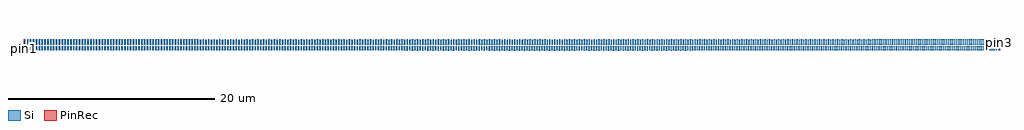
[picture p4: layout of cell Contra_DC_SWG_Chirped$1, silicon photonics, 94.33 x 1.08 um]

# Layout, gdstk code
import gdstk
lib = gdstk.Library(unit=1e-6, precision=1e-09)
def R(c, l, rs):  # rectangles x0, y0, x1, y1
    for r in rs: c.add(gdstk.rectangle(r[:2], r[2:], *l))
def A(c, l, x, y, w, h, nx, ny, dx, dy):  # array of equal rectangles
    R(c, l, [(x+i*dx, y+j*dy, x+i*dx+w, y+j*dy+h) for i in range(nx) for j in range(ny)])
Si = (1, 0)
PinRec = (1, 10)

contra_dc_swg_chirped_1 = lib.new_cell('Contra_DC_SWG_Chirped$1')
A(contra_dc_swg_chirped_1, Si, 50.174, -0.229, 0.13, 0.399, 4, 1, 0.48, 0)
A(contra_dc_swg_chirped_1, Si, 16.096, -0.205, 0.137, 0.399, 3, 1, 0.535, 0)
A(contra_dc_swg_chirped_1, Si, 81.013, -0.205, 0.123, 0.399, 3, 1, 0.425, 0)
A(contra_dc_swg_chirped_1, Si, -0.07, -0.2, 0.14, 0.4, 3, 1, 0.559, 0)
A(contra_dc_swg_chirped_1, Si, 4.937, -0.2, 0.139, 0.4, 3, 1, 0.552, 0)
A(contra_dc_swg_chirped_1, Si, 20.093, -0.2, 0.136, 0.4, 3, 1, 0.529, 0)
A(contra_dc_swg_chirped_1, Si, 24.828, -0.2, 0.135, 0.4, 3, 1, 0.522, 0)
A(contra_dc_swg_chirped_1, Si, 26.912, -0.2, 0.135, 0.4, 3, 1, 0.518, 0)
A(contra_dc_swg_chirped_1, Si, 30.526, -0.2, 0.134, 0.4, 3, 1, 0.513, 0)
A(contra_dc_swg_chirped_1, Si, 44.585, -0.2, 0.131, 0.4, 3, 1, 0.49, 0)
A(contra_dc_swg_chirped_1, Si, 49.933, -0.2, 0.13, 0.4, 3, 1, 0.481, 0)
A(contra_dc_swg_chirped_1, Si, 55.182, -0.2, 0.129, 0.4, 3, 1, 0.472, 0)
A(contra_dc_swg_chirped_1, Si, 68.098, -0.2, 0.126, 0.4, 3, 1, 0.449, 0)
A(contra_dc_swg_chirped_1, Si, 72.113, -0.2, 0.125, 0.4, 3, 1, 0.442, 0)
A(contra_dc_swg_chirped_1, Si, 73.877, -0.2, 0.125, 0.4, 3, 1, 0.438, 0)
A(contra_dc_swg_chirped_1, Si, 76.931, -0.2, 0.124, 0.4, 3, 1, 0.433, 0)
A(contra_dc_swg_chirped_1, Si, 88.75, -0.2, 0.121, 0.4, 3, 1, 0.41, 0)
A(contra_dc_swg_chirped_1, Si, 55.204, 0.312, 0.129, 0.499, 3, 1, 0.472, 0)
A(contra_dc_swg_chirped_1, Si, 19.57, 0.341, 0.136, 0.499, 3, 1, 0.53, 0)
A(contra_dc_swg_chirped_1, Si, 82.109, 0.344, 0.123, 0.499, 3, 1, 0.423, 0)
A(contra_dc_swg_chirped_1, Si, 86.723, 0.347, 0.122, 0.499, 3, 1, 0.414, 0)
A(contra_dc_swg_chirped_1, Si, 89.198, 0.348, 0.121, 0.499, 3, 1, 0.409, 0)
A(contra_dc_swg_chirped_1, Si, 5.767, 0.35, 0.139, 0.5, 3, 1, 0.551, 0)
A(contra_dc_swg_chirped_1, Si, 15.028, 0.35, 0.137, 0.5, 3, 1, 0.537, 0)
A(contra_dc_swg_chirped_1, Si, 18.24, 0.35, 0.137, 0.5, 3, 1, 0.532, 0)
A(contra_dc_swg_chirped_1, Si, 20.365, 0.35, 0.136, 0.5, 3, 1, 0.529, 0)
A(contra_dc_swg_chirped_1, Si, 24.053, 0.35, 0.135, 0.5, 3, 1, 0.523, 0)
A(contra_dc_swg_chirped_1, Si, 26.662, 0.35, 0.135, 0.5, 3, 1, 0.519, 0)
A(contra_dc_swg_chirped_1, Si, 32.331, 0.35, 0.134, 0.5, 3, 1, 0.51, 0)
A(contra_dc_swg_chirped_1, Si, 40.898, 0.35, 0.132, 0.5, 3, 1, 0.496, 0)
A(contra_dc_swg_chirped_1, Si, 45.827, 0.35, 0.131, 0.5, 3, 1, 0.488, 0)
A(contra_dc_swg_chirped_1, Si, 50.193, 0.35, 0.13, 0.5, 3, 1, 0.481, 0)
A(contra_dc_swg_chirped_1, Si, 55.912, 0.35, 0.129, 0.5, 3, 1, 0.471, 0)
A(contra_dc_swg_chirped_1, Si, 58.728, 0.35, 0.128, 0.5, 3, 1, 0.466, 0)
A(contra_dc_swg_chirped_1, Si, 63.813, 0.35, 0.127, 0.5, 3, 1, 0.457, 0)
A(contra_dc_swg_chirped_1, Si, 66.545, 0.35, 0.127, 0.5, 3, 1, 0.452, 0)
A(contra_dc_swg_chirped_1, Si, 68.35, 0.35, 0.126, 0.5, 3, 1, 0.449, 0)
A(contra_dc_swg_chirped_1, Si, 71.478, 0.35, 0.125, 0.5, 3, 1, 0.443, 0)
A(contra_dc_swg_chirped_1, Si, 73.687, 0.35, 0.125, 0.5, 3, 1, 0.439, 0)
A(contra_dc_swg_chirped_1, Si, 78.476, 0.35, 0.124, 0.5, 3, 1, 0.43, 0)
A(contra_dc_swg_chirped_1, Si, 85.683, 0.35, 0.122, 0.5, 3, 1, 0.416, 0)
A(contra_dc_swg_chirped_1, Si, 89.812, 0.35, 0.121, 0.5, 3, 1, 0.408, 0)
R(contra_dc_swg_chirped_1, Si, [(46.785,-0.229,46.915,0.17), (47.271,-0.229,47.402,0.17), (47.757,-0.229,47.888,0.17), (48.242,-0.229,48.372,0.17), (48.726,-0.229,48.856,0.17), (49.209,-0.229,49.34,0.17), (49.692,-0.229,49.822,0.17), (52.092,-0.229,52.222,0.17), (52.57,-0.229,52.699,0.17), (53.046,-0.229,53.176,0.17), (53.522,-0.229,53.652,0.17), (53.998,-0.229,54.127,0.17), (54.472,-0.229,54.601,0.17), (54.945,-0.229,55.075,0.17), (44.83,-0.228,44.961,0.171), (45.32,-0.228,45.451,0.171), (45.809,-0.228,45.94,0.171), (46.297,-0.228,46.428,0.171), (55.418,-0.228,55.547,0.171), (55.89,-0.228,56.019,0.171), (56.361,-0.228,56.49,0.171), (56.831,-0.228,56.96,0.171), (42.863,-0.227,42.994,0.172), (43.356,-0.227,43.487,0.172), (43.848,-0.227,43.979,0.172), (44.339,-0.227,44.471,0.172), (57.301,-0.227,57.429,0.172), (57.769,-0.227,57.898,0.172), (58.237,-0.227,58.366,0.172), (58.704,-0.227,58.833,0.172), (41.874,-0.226,42.006,0.173), (42.369,-0.226,42.5,0.173), (59.17,-0.226,59.299,0.173), (59.636,-0.226,59.764,0.173), (40.385,-0.225,40.517,0.174), (40.882,-0.225,41.014,0.174), (41.378,-0.225,41.51,0.174), (60.1,-0.225,60.228,0.174), (60.564,-0.225,60.692,0.174), (61.027,-0.225,61.155,0.174), (39.388,-0.224,39.52,0.175), (39.887,-0.224,40.019,0.175), (61.489,-0.224,61.617,0.175), (61.95,-0.224,62.078,0.175), (38.388,-0.223,38.52,0.176), (38.888,-0.223,39.021,0.176), (62.411,-0.223,62.538,0.176), (62.87,-0.223,62.998,0.176), (36.882,-0.222,37.014,0.177), (37.384,-0.222,37.517,0.177), (37.887,-0.222,38.019,0.177), (63.329,-0.222,63.457,0.177), (63.787,-0.222,63.914,0.177), (64.244,-0.222,64.372,0.177), (35.873,-0.221,36.006,0.178), (36.378,-0.221,36.511,0.178), (64.701,-0.221,64.828,0.178), (65.156,-0.221,65.283,0.178), (34.862,-0.22,34.995,0.179), (35.368,-0.22,35.501,0.179), (65.611,-0.22,65.738,0.179), (66.065,-0.22,66.192,0.179), (33.847,-0.219,33.98,0.18), (34.355,-0.219,34.488,0.18), (66.518,-0.219,66.645,0.18), (66.97,-0.219,67.097,0.18), (32.829,-0.218,32.963,0.181), (33.338,-0.218,33.472,0.181), (67.422,-0.218,67.548,0.181), (67.873,-0.218,67.999,0.181), (31.808,-0.217,31.941,0.182), (32.319,-0.217,32.452,0.182), (68.322,-0.217,68.449,0.182), (68.771,-0.217,68.898,0.182), (30.783,-0.216,30.917,0.183), (31.296,-0.216,31.43,0.183), (69.22,-0.216,69.346,0.183), (69.667,-0.216,69.793,0.183), (29.755,-0.215,29.889,0.184), (30.269,-0.215,30.404,0.184), (70.114,-0.215,70.239,0.184), (70.559,-0.215,70.685,0.184), (28.724,-0.214,28.859,0.185), (29.24,-0.214,29.374,0.185), (71.004,-0.214,71.13,0.185), (71.449,-0.214,71.574,0.185), (27.69,-0.213,27.824,0.186), (28.207,-0.213,28.342,0.186), (71.892,-0.213,72.017,0.186), (72.334,-0.213,72.46,0.186), (26.652,-0.212,26.787,0.187), (27.171,-0.212,27.306,0.187), (72.776,-0.212,72.901,0.187), (73.217,-0.212,73.342,0.187), (25.611,-0.211,25.746,0.188), (26.132,-0.211,26.267,0.188), (73.657,-0.211,73.782,0.188), (74.096,-0.211,74.221,0.188), (24.044,-0.21,24.179,0.189), (24.567,-0.21,24.702,0.189), (25.089,-0.21,25.225,0.189), (74.535,-0.21,74.659,0.189), (74.972,-0.21,75.097,0.189), (75.409,-0.21,75.534,0.189), (22.994,-0.209,23.13,0.19), (23.519,-0.209,23.655,0.19), (75.845,-0.209,75.969,0.19), (76.28,-0.209,76.404,0.19), (21.415,-0.208,21.551,0.191), (21.942,-0.208,22.078,0.191), (22.469,-0.208,22.604,0.191), (76.714,-0.208,76.839,0.191), (77.148,-0.208,77.272,0.191), (77.581,-0.208,77.705,0.191), (19.828,-0.207,19.964,0.192), (20.357,-0.207,20.494,0.192), (20.886,-0.207,21.023,0.192), (78.013,-0.207,78.136,0.192), (78.444,-0.207,78.567,0.192), (78.874,-0.207,78.998,0.192), (18.233,-0.206,18.37,0.193), (18.765,-0.206,18.902,0.193), (19.297,-0.206,19.433,0.193), (79.303,-0.206,79.427,0.193), (79.732,-0.206,79.855,0.193), (80.16,-0.206,80.283,0.193), (17.7,-0.205,17.837,0.194), (80.587,-0.205,80.71,0.194), (13.945,-0.204,14.083,0.195), (14.484,-0.204,14.622,0.195), (15.022,-0.204,15.159,0.195), (15.559,-0.204,15.697,0.195), (82.287,-0.204,82.409,0.195), (82.709,-0.204,82.832,0.195), (83.132,-0.204,83.254,0.195), (83.553,-0.204,83.675,0.195), (11.239,-0.203,11.377,0.196), (11.782,-0.203,11.92,0.196), (12.324,-0.203,12.462,0.196), (12.865,-0.203,13.003,0.196), (13.406,-0.203,13.543,0.196), (83.973,-0.203,84.096,0.196), (84.393,-0.203,84.515,0.196), (84.812,-0.203,84.934,0.196), (85.23,-0.203,85.352,0.196), (85.647,-0.203,85.769,0.196), (7.964,-0.202,8.103,0.197), (8.512,-0.202,8.651,0.197), (9.059,-0.202,9.198,0.197), (9.605,-0.202,9.744,0.197), (10.151,-0.202,10.289,0.197), (10.695,-0.202,10.833,0.197), (86.063,-0.202,86.185,0.197), (86.479,-0.202,86.601,0.197), (86.894,-0.202,87.015,0.197), (87.308,-0.202,87.429,0.197), (87.721,-0.202,87.842,0.197), (88.133,-0.202,88.254,0.197), (1.885,-0.201,2.024,0.198), (2.441,-0.201,2.581,0.198), (2.997,-0.201,3.137,0.198), (3.553,-0.201,3.692,0.198), (4.107,-0.201,4.246,0.198), (4.66,-0.201,4.8,0.198), (5.213,-0.201,5.352,0.198), (5.765,-0.201,5.904,0.198), (6.316,-0.201,6.455,0.198), (6.866,-0.201,7.005,0.198), (7.416,-0.201,7.554,0.198), (88.544,-0.201,88.666,0.198), (88.955,-0.201,89.076,0.198), (89.365,-0.201,89.486,0.198), (89.774,-0.201,89.895,0.198), (90.182,-0.201,90.303,0.198), (90.59,-0.201,90.71,0.198), (90.996,-0.201,91.117,0.198), (91.402,-0.201,91.523,0.198), (91.807,-0.201,91.927,0.198), (92.211,-0.201,92.331,0.198), (92.614,-0.201,92.735,0.198), (0.209,-0.2,0.349,0.199), (0.769,-0.2,0.909,0.199), (1.327,-0.2,1.467,0.199), (1.606,-0.2,1.746,0.2), (2.163,-0.2,2.303,0.2), (2.72,-0.2,2.859,0.2), (3.275,-0.2,3.415,0.2), (3.83,-0.2,3.969,0.2), (4.384,-0.2,4.523,0.2), (6.591,-0.2,6.73,0.2), (7.141,-0.2,7.28,0.2), (7.69,-0.2,7.829,0.2), (8.238,-0.2,8.377,0.2), (8.786,-0.2,8.924,0.2), (9.332,-0.2,9.471,0.2), (9.878,-0.2,10.016,0.2), (10.423,-0.2,10.561,0.2), (10.967,-0.2,11.105,0.2), (11.511,-0.2,11.648,0.2), (12.053,-0.2,12.191,0.2), (12.595,-0.2,12.732,0.2), (13.136,-0.2,13.273,0.2), (13.676,-0.2,13.813,0.2), (14.215,-0.2,14.352,0.2), (14.753,-0.2,14.891,0.2), (15.291,-0.2,15.428,0.2), (15.828,-0.2,15.965,0.2), (16.364,-0.2,16.501,0.2), (16.899,-0.2,17.036,0.2), (17.433,-0.2,17.57,0.2), (17.967,-0.2,18.103,0.2), (18.499,-0.2,18.636,0.2), (19.031,-0.2,19.168,0.2), (19.562,-0.2,19.699,0.2), (21.678,-0.2,21.814,0.2), (22.205,-0.2,22.341,0.2), (22.732,-0.2,22.867,0.2), (23.257,-0.2,23.393,0.2), (23.782,-0.2,23.917,0.2), (24.305,-0.2,24.441,0.2), (26.392,-0.2,26.527,0.2), (28.466,-0.2,28.6,0.2), (28.982,-0.2,29.117,0.2), (29.498,-0.2,29.632,0.2), (30.012,-0.2,30.147,0.2), (32.063,-0.2,32.197,0.2), (32.574,-0.2,32.708,0.2), (33.084,-0.2,33.217,0.2), (33.593,-0.2,33.726,0.2), (34.101,-0.2,34.234,0.2), (34.608,-0.2,34.742,0.2), (35.115,-0.2,35.248,0.2), (35.621,-0.2,35.754,0.2), (36.126,-0.2,36.259,0.2), (36.63,-0.2,36.763,0.2), (37.133,-0.2,37.266,0.2), (37.636,-0.2,37.768,0.2), (38.137,-0.2,38.27,0.2), (38.638,-0.2,38.771,0.2), (39.138,-0.2,39.271,0.2), (39.637,-0.2,39.77,0.2), (40.136,-0.2,40.268,0.2), (40.633,-0.2,40.766,0.2), (41.13,-0.2,41.262,0.2), (41.626,-0.2,41.758,0.2), (42.121,-0.2,42.253,0.2), (42.616,-0.2,42.747,0.2), (43.109,-0.2,43.241,0.2), (43.602,-0.2,43.733,0.2), (44.094,-0.2,44.225,0.2), (46.053,-0.2,46.184,0.2), (46.541,-0.2,46.672,0.2), (47.028,-0.2,47.159,0.2), (47.514,-0.2,47.645,0.2), (48,-0.2,48.13,0.2), (48.484,-0.2,48.615,0.2), (48.968,-0.2,49.098,0.2), (49.451,-0.2,49.581,0.2), (51.374,-0.2,51.504,0.2), (51.853,-0.2,51.983,0.2), (52.331,-0.2,52.461,0.2), (52.808,-0.2,52.938,0.2), (53.285,-0.2,53.414,0.2), (53.76,-0.2,53.89,0.2), (54.235,-0.2,54.364,0.2), (54.709,-0.2,54.838,0.2), (56.596,-0.2,56.725,0.2), (57.066,-0.2,57.195,0.2), (57.535,-0.2,57.664,0.2), (58.003,-0.2,58.132,0.2), (58.471,-0.2,58.599,0.2), (58.937,-0.2,59.066,0.2), (59.403,-0.2,59.531,0.2), (59.868,-0.2,59.996,0.2), (60.332,-0.2,60.46,0.2), (60.796,-0.2,60.923,0.2), (61.258,-0.2,61.386,0.2), (61.72,-0.2,61.847,0.2), (62.181,-0.2,62.308,0.2), (62.641,-0.2,62.768,0.2), (63.1,-0.2,63.227,0.2), (63.558,-0.2,63.686,0.2), (64.016,-0.2,64.143,0.2), (64.473,-0.2,64.6,0.2), (64.929,-0.2,65.056,0.2), (65.384,-0.2,65.511,0.2), (65.838,-0.2,65.965,0.2), (66.292,-0.2,66.418,0.2), (66.744,-0.2,66.871,0.2), (67.196,-0.2,67.323,0.2), (67.647,-0.2,67.774,0.2), (69.443,-0.2,69.569,0.2), (69.89,-0.2,70.016,0.2), (70.337,-0.2,70.462,0.2), (70.782,-0.2,70.908,0.2), (71.227,-0.2,71.352,0.2), (71.67,-0.2,71.796,0.2), (73.437,-0.2,73.562,0.2), (75.191,-0.2,75.315,0.2), (75.627,-0.2,75.752,0.2), (76.063,-0.2,76.187,0.2), (76.497,-0.2,76.622,0.2), (78.228,-0.2,78.352,0.2), (78.659,-0.2,78.783,0.2), (79.089,-0.2,79.212,0.2), (79.518,-0.2,79.641,0.2), (79.946,-0.2,80.069,0.2), (80.373,-0.2,80.497,0.2), (80.8,-0.2,80.923,0.2), (81.226,-0.2,81.349,0.2), (81.651,-0.2,81.774,0.2), (82.075,-0.2,82.198,0.2), (82.498,-0.2,82.621,0.2), (82.921,-0.2,83.043,0.2), (83.342,-0.2,83.465,0.2), (83.763,-0.2,83.886,0.2), (84.183,-0.2,84.306,0.2), (84.602,-0.2,84.725,0.2), (85.021,-0.2,85.143,0.2), (85.438,-0.2,85.561,0.2), (85.855,-0.2,85.977,0.2), (86.271,-0.2,86.393,0.2), (86.686,-0.2,86.808,0.2), (87.101,-0.2,87.222,0.2), (87.514,-0.2,87.636,0.2), (87.927,-0.2,88.048,0.2), (88.339,-0.2,88.46,0.2), (89.978,-0.2,90.099,0.2), (90.386,-0.2,90.507,0.2), (90.793,-0.2,90.914,0.2), (91.199,-0.2,91.32,0.2), (91.605,-0.2,91.725,0.2), (92.009,-0.2,92.13,0.2), (92.413,-0.2,92.533,0.2), (92.816,-0.2,92.936,0.2), (93.017,-0.2,93.137,0.199), (93.218,-0.2,93.338,0.2), (93.419,-0.2,93.539,0.199), (93.619,-0.2,93.739,0.2), (93.819,-0.2,93.939,0.199), (94.06,-0.2,94.18,0.2), (47.533,0.311,47.663,0.81), (48.018,0.311,48.149,0.81), (48.503,0.311,48.634,0.81), (48.987,0.311,49.117,0.81), (49.47,0.311,49.6,0.81), (49.952,0.311,50.083,0.81), (50.434,0.311,50.564,0.81), (50.914,0.311,51.045,0.81), (51.394,0.311,51.524,0.81), (51.873,0.311,52.003,0.81), (52.352,0.311,52.481,0.81), (52.829,0.311,52.959,0.81), (53.306,0.311,53.435,0.81), (53.781,0.311,53.911,0.81), (54.256,0.311,54.386,0.81), (54.73,0.311,54.86,0.81), (45.582,0.312,45.713,0.811), (46.071,0.312,46.202,0.811), (46.559,0.312,46.69,0.811), (47.046,0.312,47.177,0.811), (56.619,0.312,56.748,0.811), (44.602,0.313,44.734,0.812), (45.093,0.313,45.224,0.812), (57.089,0.313,57.218,0.812), (57.558,0.313,57.687,0.812), (43.126,0.314,43.258,0.813), (43.619,0.314,43.75,0.813), (44.111,0.314,44.242,0.813), (58.026,0.314,58.155,0.813), (58.494,0.314,58.622,0.813), (58.961,0.314,59.089,0.813), (42.138,0.315,42.27,0.814), (42.632,0.315,42.764,0.814), (59.427,0.315,59.555,0.814), (59.892,0.315,60.02,0.814), (41.146,0.316,41.278,0.815), (41.642,0.316,41.774,0.815), (60.356,0.316,60.484,0.815), (60.82,0.316,60.948,0.815), (40.151,0.317,40.284,0.816), (40.649,0.317,40.781,0.816), (61.283,0.317,61.41,0.816), (61.744,0.317,61.872,0.816), (39.653,0.318,39.785,0.817), (62.205,0.318,62.333,0.817), (38.653,0.319,38.786,0.818), (39.153,0.319,39.286,0.818), (62.666,0.319,62.793,0.818), (63.125,0.319,63.253,0.818), (37.65,0.32,37.783,0.819), (38.152,0.32,38.285,0.819), (63.584,0.32,63.711,0.819), (64.042,0.32,64.169,0.819), (37.147,0.321,37.28,0.82), (64.499,0.321,64.626,0.82), (36.139,0.322,36.273,0.821), (36.644,0.322,36.777,0.821), (64.955,0.322,65.082,0.821), (65.41,0.322,65.537,0.821), (35.634,0.323,35.768,0.822), (65.865,0.323,65.991,0.822), (34.622,0.324,34.755,0.823), (35.128,0.324,35.262,0.823), (66.318,0.324,66.445,0.823), (66.771,0.324,66.898,0.823), (34.114,0.325,34.247,0.824), (67.223,0.325,67.35,0.824), (33.096,0.326,33.23,0.825), (33.606,0.326,33.739,0.825), (67.675,0.326,67.801,0.825), (68.125,0.326,68.251,0.825), (32.586,0.327,32.72,0.826), (68.575,0.327,68.701,0.826), (31.564,0.328,31.698,0.827), (32.075,0.328,32.209,0.827), (69.024,0.328,69.15,0.827), (69.472,0.328,69.598,0.827), (31.051,0.329,31.185,0.828), (69.919,0.329,70.045,0.828), (30.024,0.33,30.158,0.829), (30.538,0.33,30.672,0.829), (70.365,0.33,70.491,0.829), (70.811,0.33,70.936,0.829), (29.509,0.331,29.643,0.83), (71.255,0.331,71.381,0.83), (28.476,0.332,28.611,0.831), (28.993,0.332,29.128,0.831), (71.699,0.332,71.825,0.831), (72.143,0.332,72.268,0.831), (27.959,0.333,28.094,0.832), (72.585,0.333,72.71,0.832), (26.922,0.334,27.057,0.833), (27.441,0.334,27.576,0.833), (73.026,0.334,73.151,0.833), (73.467,0.334,73.592,0.833), (25.881,0.335,26.016,0.834), (26.402,0.335,26.537,0.834), (73.907,0.335,74.032,0.834), (74.346,0.335,74.471,0.834), (24.838,0.336,24.973,0.835), (25.36,0.336,25.495,0.835), (74.784,0.336,74.909,0.835), (75.221,0.336,75.346,0.835), (24.314,0.337,24.45,0.836), (75.658,0.337,75.783,0.836), (23.266,0.338,23.401,0.837), (23.79,0.338,23.926,0.837), (76.094,0.338,76.218,0.837), (76.529,0.338,76.653,0.837), (22.214,0.339,22.35,0.838), (22.74,0.339,22.876,0.838), (76.963,0.339,77.087,0.838), (77.396,0.339,77.52,0.838), (21.159,0.34,21.295,0.839), (21.687,0.34,21.823,0.839), (77.829,0.34,77.953,0.839), (78.26,0.34,78.384,0.839), (78.691,0.341,78.815,0.84), (79.121,0.341,79.245,0.84), (79.551,0.341,79.674,0.84), (18.506,0.342,18.643,0.841), (19.038,0.342,19.175,0.841), (79.979,0.342,80.102,0.841), (80.407,0.342,80.53,0.841), (16.905,0.343,17.042,0.842), (17.44,0.343,17.576,0.842), (17.973,0.343,18.11,0.842), (80.833,0.343,80.957,0.842), (81.259,0.343,81.383,0.842), (81.684,0.343,81.808,0.842), (15.297,0.344,15.434,0.843), (15.834,0.344,15.971,0.843), (16.37,0.344,16.507,0.843), (13.681,0.345,13.818,0.844), (14.22,0.345,14.358,0.844), (14.759,0.345,14.896,0.844), (83.377,0.345,83.5,0.844), (83.798,0.345,83.921,0.844), (84.218,0.345,84.341,0.844), (11.515,0.346,11.653,0.845), (12.058,0.346,12.195,0.845), (12.599,0.346,12.737,0.845), (13.14,0.346,13.278,0.845), (84.638,0.346,84.76,0.845), (85.056,0.346,85.179,0.845), (85.474,0.346,85.596,0.845), (85.891,0.346,86.013,0.845), (8.789,0.347,8.927,0.846), (9.336,0.347,9.474,0.846), (9.882,0.347,10.02,0.846), (10.427,0.347,10.565,0.846), (10.971,0.347,11.109,0.846), (86.307,0.347,86.429,0.846), (87.964,0.347,88.085,0.846), (5.491,0.348,5.63,0.847), (6.043,0.348,6.182,0.847), (6.594,0.348,6.733,0.847), (7.144,0.348,7.283,0.847), (7.693,0.348,7.832,0.847), (8.241,0.348,8.38,0.847), (88.376,0.348,88.497,0.847), (88.787,0.348,88.909,0.847), (90.424,0.348,90.545,0.847), (-0.06,0.349,0.06,0.848), (0.489,0.349,0.629,0.848), (1.048,0.349,1.188,0.848), (1.607,0.349,1.746,0.848), (2.164,0.349,2.304,0.848), (2.721,0.349,2.86,0.848), (3.276,0.349,3.416,0.848), (3.831,0.349,3.971,0.848), (4.385,0.349,4.525,0.848), (4.939,0.349,5.078,0.848), (90.831,0.349,90.952,0.848), (91.238,0.349,91.358,0.848), (91.643,0.349,91.764,0.848), (92.048,0.349,92.169,0.848), (92.452,0.349,92.572,0.848), (92.855,0.349,92.975,0.848), (93.257,0.349,93.378,0.848), (93.659,0.349,93.779,0.848), (94.059,0.349,94.18,0.848), (0.21,0.35,0.35,0.85), (0.769,0.35,0.909,0.85), (1.328,0.35,1.467,0.85), (1.885,0.35,2.025,0.85), (2.442,0.35,2.582,0.85), (2.999,0.35,3.138,0.85), (3.554,0.35,3.693,0.85), (4.108,0.35,4.248,0.85), (4.662,0.35,4.801,0.85), (5.215,0.35,5.354,0.85), (7.419,0.35,7.557,0.85), (7.967,0.35,8.106,0.85), (8.515,0.35,8.654,0.85), (9.063,0.35,9.201,0.85), (9.609,0.35,9.747,0.85), (10.154,0.35,10.293,0.85), (10.699,0.35,10.837,0.85), (11.243,0.35,11.381,0.85), (11.786,0.35,11.924,0.85), (12.329,0.35,12.466,0.85), (12.87,0.35,13.008,0.85), (13.411,0.35,13.548,0.85), (13.951,0.35,14.088,0.85), (14.49,0.35,14.627,0.85), (16.638,0.35,16.775,0.85), (17.173,0.35,17.309,0.85), (17.707,0.35,17.843,0.85), (19.835,0.35,19.971,0.85), (21.95,0.35,22.086,0.85), (22.477,0.35,22.613,0.85), (23.003,0.35,23.139,0.85), (23.528,0.35,23.664,0.85), (25.621,0.35,25.756,0.85), (26.142,0.35,26.277,0.85), (28.218,0.35,28.353,0.85), (28.735,0.35,28.869,0.85), (29.251,0.35,29.386,0.85), (29.766,0.35,29.901,0.85), (30.281,0.35,30.415,0.85), (30.795,0.35,30.929,0.85), (31.308,0.35,31.442,0.85), (31.82,0.35,31.954,0.85), (33.86,0.35,33.993,0.85), (34.368,0.35,34.501,0.85), (34.875,0.35,35.008,0.85), (35.381,0.35,35.515,0.85), (35.887,0.35,36.02,0.85), (36.392,0.35,36.525,0.85), (36.896,0.35,37.029,0.85), (37.399,0.35,37.532,0.85), (37.901,0.35,38.034,0.85), (38.403,0.35,38.535,0.85), (38.903,0.35,39.036,0.85), (39.403,0.35,39.536,0.85), (39.902,0.35,40.034,0.85), (40.4,0.35,40.533,0.85), (42.385,0.35,42.517,0.85), (42.879,0.35,43.011,0.85), (43.372,0.35,43.504,0.85), (43.865,0.35,43.996,0.85), (44.357,0.35,44.488,0.85), (44.848,0.35,44.979,0.85), (45.338,0.35,45.469,0.85), (47.29,0.35,47.42,0.85), (47.776,0.35,47.906,0.85), (48.261,0.35,48.391,0.85), (48.745,0.35,48.876,0.85), (49.229,0.35,49.359,0.85), (49.711,0.35,49.842,0.85), (51.634,0.35,51.764,0.85), (52.113,0.35,52.242,0.85), (52.59,0.35,52.72,0.85), (53.067,0.35,53.197,0.85), (53.544,0.35,53.673,0.85), (54.019,0.35,54.148,0.85), (54.493,0.35,54.623,0.85), (54.967,0.35,55.096,0.85), (55.44,0.35,55.569,0.85), (57.324,0.35,57.452,0.85), (57.792,0.35,57.921,0.85), (58.26,0.35,58.389,0.85), (60.124,0.35,60.252,0.85), (60.588,0.35,60.716,0.85), (61.051,0.35,61.179,0.85), (61.514,0.35,61.641,0.85), (61.975,0.35,62.103,0.85), (62.436,0.35,62.563,0.85), (62.896,0.35,63.023,0.85), (63.355,0.35,63.482,0.85), (65.183,0.35,65.31,0.85), (65.638,0.35,65.764,0.85), (66.092,0.35,66.218,0.85), (67.9,0.35,68.026,0.85), (69.695,0.35,69.821,0.85), (70.142,0.35,70.268,0.85), (70.588,0.35,70.714,0.85), (71.033,0.35,71.159,0.85), (72.806,0.35,72.931,0.85), (73.247,0.35,73.372,0.85), (75.003,0.35,75.128,0.85), (75.44,0.35,75.564,0.85), (75.876,0.35,76.001,0.85), (76.311,0.35,76.436,0.85), (76.746,0.35,76.87,0.85), (77.18,0.35,77.304,0.85), (77.613,0.35,77.737,0.85), (78.045,0.35,78.169,0.85), (79.765,0.35,79.888,0.85), (80.193,0.35,80.316,0.85), (80.62,0.35,80.743,0.85), (81.046,0.35,81.17,0.85), (81.472,0.35,81.595,0.85), (81.897,0.35,82.02,0.85), (82.321,0.35,82.444,0.85), (82.744,0.35,82.867,0.85), (83.166,0.35,83.289,0.85), (83.588,0.35,83.71,0.85), (84.008,0.35,84.131,0.85), (84.428,0.35,84.551,0.85), (84.847,0.35,84.969,0.85), (85.265,0.35,85.388,0.85), (86.93,0.35,87.052,0.85), (87.344,0.35,87.466,0.85), (87.757,0.35,87.879,0.85), (88.17,0.35,88.291,0.85), (88.582,0.35,88.703,0.85), (88.993,0.35,89.114,0.85), (89.403,0.35,89.524,0.85), (91.035,0.35,91.155,0.85), (91.441,0.35,91.561,0.85), (91.846,0.35,91.966,0.85), (92.25,0.35,92.371,0.85), (92.654,0.35,92.774,0.85), (93.056,0.35,93.177,0.85), (93.458,0.35,93.578,0.85), (93.859,0.35,93.979,0.85)])
contra_dc_swg_chirped_1.add(gdstk.FlexPath([(-0.06,0),(-0.08,0)], 0.4, ends="flush", simple_path=True, layer=1, datatype=10))  # PinRec
contra_dc_swg_chirped_1.add(gdstk.FlexPath([(-0.06,0.599),(-0.08,0.599)], 0.5, ends="flush", simple_path=True, layer=1, datatype=10))  # PinRec
contra_dc_swg_chirped_1.add(gdstk.FlexPath([(94.23,0.599),(94.25,0.599)], 0.5, ends="flush", simple_path=True, layer=1, datatype=10))  # PinRec
contra_dc_swg_chirped_1.add(gdstk.FlexPath([(94.23,0),(94.25,0)], 0.4, ends="flush", simple_path=True, layer=1, datatype=10))  # PinRec
contra_dc_swg_chirped_1.add(gdstk.Label('pin1', (-0.07,0), layer=1, texttype=10))
contra_dc_swg_chirped_1.add(gdstk.Label('pin2', (-0.07,0.599), layer=1, texttype=10))
contra_dc_swg_chirped_1.add(gdstk.Label('pin3', (94.24,0.599), layer=1, texttype=10))
contra_dc_swg_chirped_1.add(gdstk.Label('pin4', (94.24,0), layer=1, texttype=10))

lib.write_gds('Contra_DC_SWG_Chirped_1.gds')
